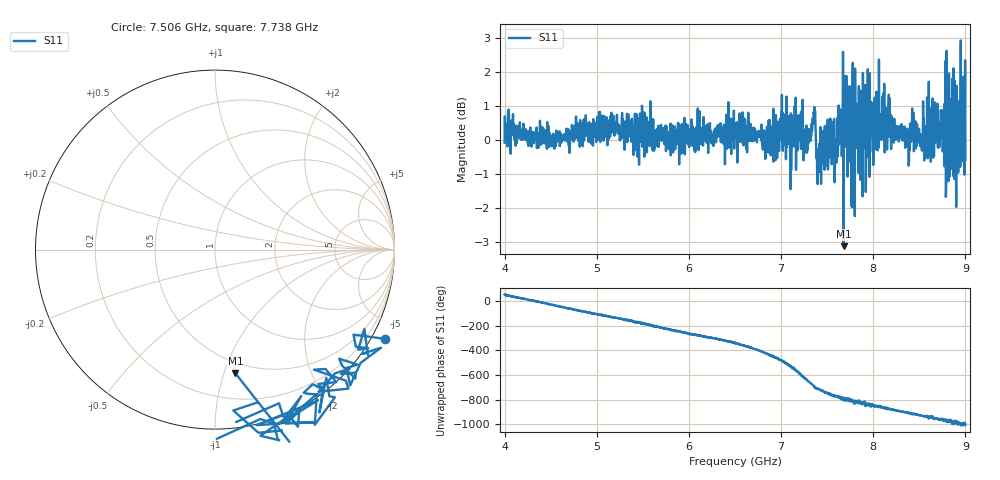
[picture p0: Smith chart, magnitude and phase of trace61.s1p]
! Created with skrf 1.8.0 (http://scikit-rf.org).
# Hz S RI R 50.0
!freq ReS11 ImS11
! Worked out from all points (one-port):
!   1601 points, 4 GHz to 9 GHz, reference 50 ohm
!   lowest |S11| = -3.1 dB at 7.678 GHz (marker M1), VSWR 5.64, Z = 20.3 - j54.7 ohm
!   |S11| at or under -10 dB: nowhere
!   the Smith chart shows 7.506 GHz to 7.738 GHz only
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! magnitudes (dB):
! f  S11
! 4 GHz  -0.1
! 4.625 GHz  0.0
! 5.25 GHz  0.0
! 5.875 GHz  0.0
! 6.5 GHz  0.3
! 7.022 GHz  0.8
! 7.125 GHz  -0.1
! 7.209 GHz  0.7
! 7.269 GHz  -0.4
! 7.35 GHz  0.5
! 7.409 GHz  -0.9
! 7.516 GHz  0.1
! 7.591 GHz  -0.5
! 7.678 GHz  -3.1
! 7.75 GHz  0.4
! 7.788 GHz  -0.3
! 7.828 GHz  0.8
! 7.962 GHz  2.0
! 7.981 GHz  0.1
! 8.119 GHz  1.6
! 8.375 GHz  0.0
! 8.575 GHz  -0.5
! 8.656 GHz  1.0
! 8.766 GHz  0.5
! 8.8 GHz  1.1
! 8.919 GHz  -0.4
! 8.956 GHz  0.7
! 9 GHz  -0.6
